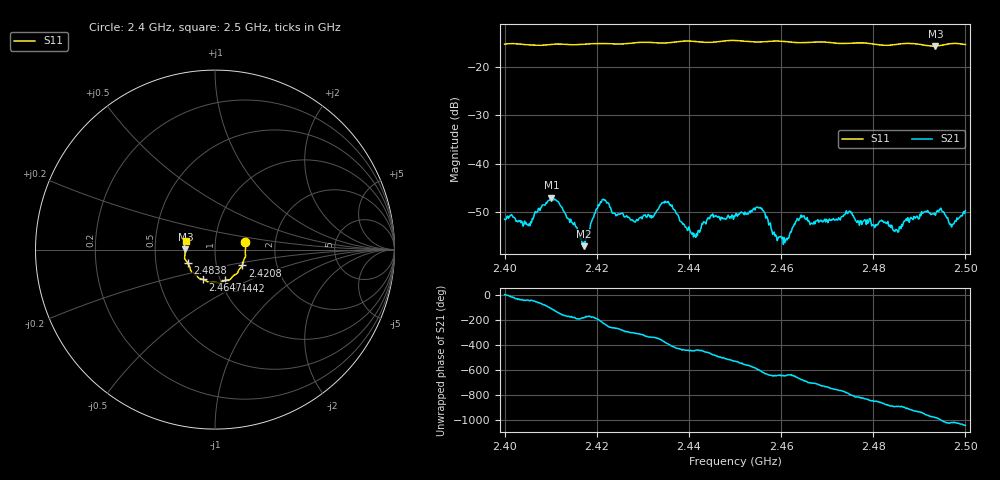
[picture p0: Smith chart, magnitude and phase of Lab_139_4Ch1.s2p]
# Hz S RI R 50
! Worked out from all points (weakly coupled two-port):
!   601 points, 2.4 GHz to 2.5 GHz, reference 50 ohm
!   highest |S21| = -47.06 dB at 2.4102 GHz (marker M1); lowest = -57.1 dB at 2.4172 GHz (marker M2)
!   lowest |S11| = -15.6 dB at 2.4935 GHz (marker M3), VSWR 1.40, Z = 35.8 + j0.187 ohm
!   |S11| at or under -10 dB: start of sweep to end of sweep
!   S12 and S22 are empty: the file has one direction only
!   S11 on the Smith chart (normalised r, x): 2.4 GHz: 1.40, +0.12; 2.4208 GHz: 1.33, -0.24; 2.4442 GHz: 1.05, -0.37; 2.4647 GHz: 0.83, -0.29; 2.4838 GHz: 0.73, -0.11; 2.5 GHz: 0.71, +0.07
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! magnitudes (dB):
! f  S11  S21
! 2.4 GHz  -15.2  -51.5
! 2.4053 GHz  -15.4  -52.5
! 2.4102 GHz  -15.3  -47.1
! 2.4167 GHz  -15.3  -55.6
! 2.4172 GHz  -15.2  -57.1
! 2.4208 GHz  -15.1  -47.9
! 2.428 GHz  -15.0  -52.0
! 2.4333 GHz  -15.0  -49.4
! 2.4358 GHz  -14.9  -48.6
! 2.441 GHz  -14.6  -55.2
! 2.4442 GHz  -14.8  -51.2
! 2.45 GHz  -14.5  -51.0
! 2.4553 GHz  -14.8  -49.1
! 2.461 GHz  -14.7  -55.9
! 2.4647 GHz  -14.9  -50.9
! 2.4667 GHz  -14.8  -52.3
! 2.4747 GHz  -15.1  -50.0
! 2.4833 GHz  -15.5  -52.9
! 2.4838 GHz  -15.4  -53.3
! 2.4935 GHz  -15.6  -50.7
! 2.497 GHz  -15.1  -53.1
! 2.5 GHz  -15.3  -49.7
